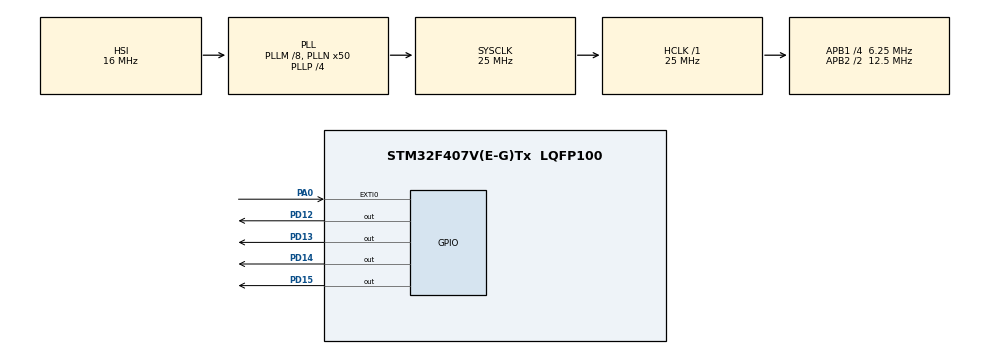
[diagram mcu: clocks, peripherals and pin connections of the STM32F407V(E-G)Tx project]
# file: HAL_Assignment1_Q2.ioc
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Mcu.Family=STM32F4
Mcu.Name=STM32F407V(E-G)Tx
Mcu.Package=LQFP100
NVIC.EXTI0_IRQn=true\:0\:0\:false\:false\:true\:true\:true\:true
NVIC.PriorityGroup=NVIC_PRIORITYGROUP_0
PA0-WKUP.GPIO_ModeDefaultEXTI=GPIO_MODE_IT_FALLING
PA0-WKUP.Signal=GPXTI0
PD12.Signal=GPIO_Output
PD13.Signal=GPIO_Output
PD14.Signal=GPIO_Output
PD15.Signal=GPIO_Output
ProjectManager.HeapSize=0x200
ProjectManager.StackSize=0x400
ProjectManager.TargetToolchain=STM32CubeIDE
RCC.48MHZClocksFreq_Value=14285714.285714285
RCC.AHBFreq_Value=25000000
RCC.APB1CLKDivider=RCC_HCLK_DIV4
RCC.APB1Freq_Value=6250000
RCC.APB1TimFreq_Value=12500000
RCC.APB2CLKDivider=RCC_HCLK_DIV2
RCC.APB2Freq_Value=12500000
RCC.APB2TimFreq_Value=25000000
RCC.CortexFreq_Value=25000000
RCC.HCLKFreq_Value=25000000
RCC.HSE_VALUE=8000000
RCC.HSI_VALUE=16000000
RCC.LSE_VALUE=32768
RCC.PLLM=8
RCC.PLLN=50
RCC.PLLP=RCC_PLLP_DIV4
RCC.PLLQ=7
RCC.SYSCLKFreq_VALUE=25000000
RCC.SYSCLKSource=RCC_SYSCLKSOURCE_PLLCLK
RCC.VCOOutputFreq_Value=100000000
board=STM32F407G-DISC1

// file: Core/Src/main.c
/* USER CODE BEGIN Header */
/**
  ******************************************************************************
  * @file           : main.c
  * @brief          : Main program body
  ******************************************************************************
  * @attention
  *
  * Copyright (c) 2026 STMicroelectronics.
  * All rights reserved.
  *
  * This software is licensed under terms that can be found in the LICENSE file
  * in the root directory of this software component.
  * If no LICENSE file comes with this software, it is provided AS-IS.
  *
  ******************************************************************************
  */
/* USER CODE END Header */
#include "main.h"

/* USER CODE BEGIN PV */
volatile uint8_t flag = 0;
uint8_t led = 0;
/* USER CODE END PV */

void SystemClock_Config(void);
static void MX_GPIO_Init(void);

int main(void)
{

  /* MCU Configuration--------------------------------------------------------*/

  /* Reset of all peripherals, Initializes the Flash interface and the Systick. */
  HAL_Init();

  /* Configure the system clock */
  SystemClock_Config();

  /* Initialize all configured peripherals */
  MX_GPIO_Init();

  /* Infinite loop */
  /* USER CODE BEGIN WHILE */
  while (1)
  {
	  if(flag == 1)
	      {
	          flag = 0;

	          if(led == 0)
	          {
	              HAL_GPIO_WritePin(GPIOD, GPIO_PIN_12, GPIO_PIN_RESET);
	              led = 1;
	              HAL_GPIO_WritePin(GPIOD, GPIO_PIN_13, GPIO_PIN_SET);
	          }

	          else if(led == 1)
	          {
	              HAL_GPIO_WritePin(GPIOD, GPIO_PIN_13, GPIO_PIN_RESET);
	              led = 2;
	              HAL_GPIO_WritePin(GPIOD, GPIO_PIN_14, GPIO_PIN_SET);
	          }

	          else if(led == 2)
	          {
	              HAL_GPIO_WritePin(GPIOD, GPIO_PIN_14, GPIO_PIN_RESET);
	              led = 3;
	              HAL_GPIO_WritePin(GPIOD, GPIO_PIN_15, GPIO_PIN_SET);
	          }

	          else if(led == 3)
	          {
	              HAL_GPIO_WritePin(GPIOD, GPIO_PIN_15, GPIO_PIN_RESET);
	              led = 0;
	              HAL_GPIO_WritePin(GPIOD, GPIO_PIN_12, GPIO_PIN_SET);
	          }
	      }

	      if(led == 0)
	      {
	          HAL_GPIO_TogglePin(GPIOD, GPIO_PIN_12);
	      }

	      else if(led == 1)
	      {
	          HAL_GPIO_TogglePin(GPIOD, GPIO_PIN_13);
	      }

	      else if(led == 2)
	      {
	          HAL_GPIO_TogglePin(GPIOD, GPIO_PIN_14);
	      }

	      else if(led == 3)
	      {
	          HAL_GPIO_TogglePin(GPIOD, GPIO_PIN_15);
	      }

	      HAL_Delay(500);
    /* USER CODE END WHILE */

  }
}

void SystemClock_Config(void)
{
  RCC_OscInitTypeDef RCC_OscInitStruct = {0};
  RCC_ClkInitTypeDef RCC_ClkInitStruct = {0};

  /** Configure the main internal regulator output voltage
  */
  __HAL_RCC_PWR_CLK_ENABLE();
  __HAL_PWR_VOLTAGESCALING_CONFIG(PWR_REGULATOR_VOLTAGE_SCALE1);

  /** Initializes the RCC Oscillators according to the specified parameters
  * in the RCC_OscInitTypeDef structure.
  */
  RCC_OscInitStruct.OscillatorType = RCC_OSCILLATORTYPE_HSI;
  RCC_OscInitStruct.HSIState = RCC_HSI_ON;
  RCC_OscInitStruct.HSICalibrationValue = RCC_HSICALIBRATION_DEFAULT;
  RCC_OscInitStruct.PLL.PLLState = RCC_PLL_ON;
  RCC_OscInitStruct.PLL.PLLSource = RCC_PLLSOURCE_HSI;
  RCC_OscInitStruct.PLL.PLLM = 8;
  RCC_OscInitStruct.PLL.PLLN = 50;
  RCC_OscInitStruct.PLL.PLLP = RCC_PLLP_DIV4;
  RCC_OscInitStruct.PLL.PLLQ = 7;
  if (HAL_RCC_OscConfig(&RCC_OscInitStruct) != HAL_OK)
  {
    Error_Handler();
  }

  /** Initializes the CPU, AHB and APB buses clocks
  */
  RCC_ClkInitStruct.ClockType = RCC_CLOCKTYPE_HCLK|RCC_CLOCKTYPE_SYSCLK
                              |RCC_CLOCKTYPE_PCLK1|RCC_CLOCKTYPE_PCLK2;
  RCC_ClkInitStruct.SYSCLKSource = RCC_SYSCLKSOURCE_PLLCLK;
  RCC_ClkInitStruct.AHBCLKDivider = RCC_SYSCLK_DIV1;
  RCC_ClkInitStruct.APB1CLKDivider = RCC_HCLK_DIV4;
  RCC_ClkInitStruct.APB2CLKDivider = RCC_HCLK_DIV2;

  if (HAL_RCC_ClockConfig(&RCC_ClkInitStruct, FLASH_LATENCY_0) != HAL_OK)
  {
    Error_Handler();
  }
}

static void MX_GPIO_Init(void)
{
  GPIO_InitTypeDef GPIO_InitStruct = {0};

  /* GPIO Ports Clock Enable */
  __HAL_RCC_GPIOA_CLK_ENABLE();
  __HAL_RCC_GPIOD_CLK_ENABLE();

  /*Configure GPIO pin Output Level */
  HAL_GPIO_WritePin(GPIOD, GPIO_PIN_12|GPIO_PIN_13|GPIO_PIN_14|GPIO_PIN_15, GPIO_PIN_RESET);

  /*Configure GPIO pin : PA0 */
  GPIO_InitStruct.Pin = GPIO_PIN_0;
  GPIO_InitStruct.Mode = GPIO_MODE_IT_FALLING;
  GPIO_InitStruct.Pull = GPIO_NOPULL;
  HAL_GPIO_Init(GPIOA, &GPIO_InitStruct);

  /*Configure GPIO pins : PD12 PD13 PD14 PD15 */
  GPIO_InitStruct.Pin = GPIO_PIN_12|GPIO_PIN_13|GPIO_PIN_14|GPIO_PIN_15;
  GPIO_InitStruct.Mode = GPIO_MODE_OUTPUT_PP;
  GPIO_InitStruct.Pull = GPIO_NOPULL;
  GPIO_InitStruct.Speed = GPIO_SPEED_FREQ_LOW;
  HAL_GPIO_Init(GPIOD, &GPIO_InitStruct);

  /* EXTI interrupt init*/
  HAL_NVIC_SetPriority(EXTI0_IRQn, 0, 0);
  HAL_NVIC_EnableIRQ(EXTI0_IRQn);

}

/* USER CODE BEGIN 4 */
void HAL_GPIO_EXTI_Callback(uint16_t GPIO_Pin)
{
	flag = 1;
}
/* USER CODE END 4 */

void Error_Handler(void)
{
  __disable_irq();
  while (1)
  {
  }
}
